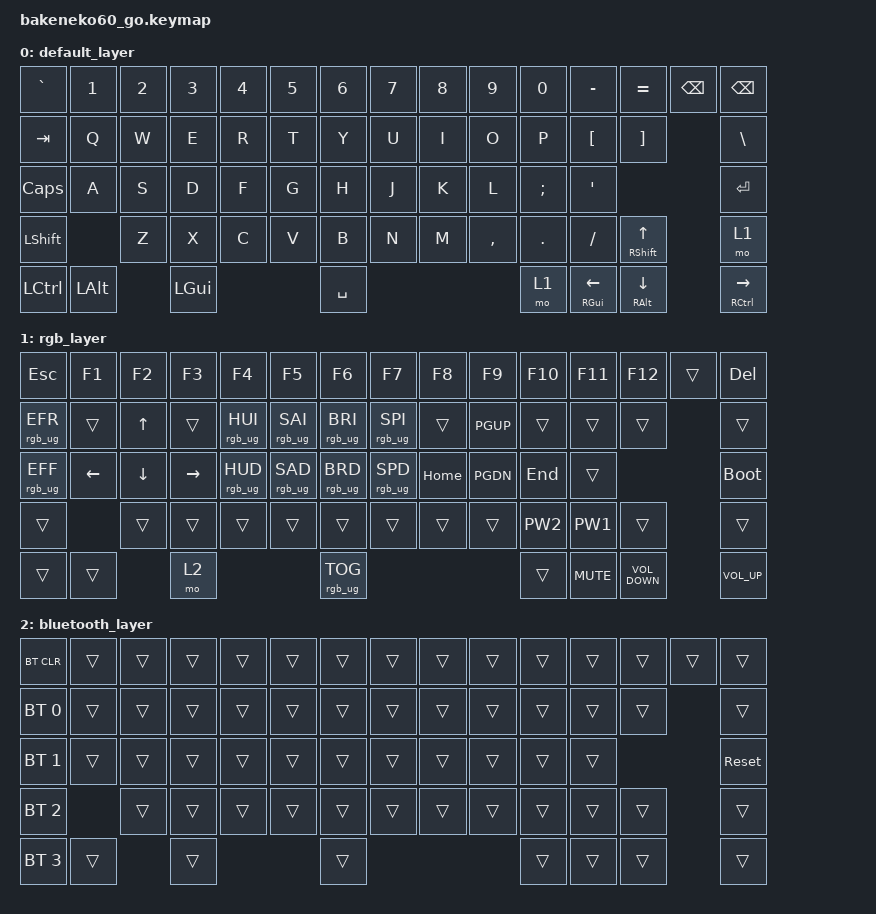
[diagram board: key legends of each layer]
/*
 * Copyright (c) 2023 Andrew Kannan
 *
 * SPDX-License-Identifier: MIT
 */

#include <behaviors.dtsi>
#include <dt-bindings/zmk/bt.h>
#include <dt-bindings/zmk/keys.h>
#include <dt-bindings/zmk/rgb.h>

/ {
    macros {
        PW1: PW1 {
            compatible = "zmk,behavior-macro";
            #binding-cells = <0>;
            bindings = <&none &kp S &kp N8 &kp N9 &kp LS(S) &kp N9 &kp N2 &kp C &kp N1 &kp N8 &kp LS(A) &kp N2 &kp N0 &kp DLLR &kp RET>;
            label = "PW1";
        };

        PW2: PW2 {
            compatible = "zmk,behavior-macro";
            #binding-cells = <0>;
            bindings = <&none &kp P &kp PRCNT &kp C &kp L &kp O &kp LS(U) &kp N4 &kp O &kp N &kp R &kp N2 &kp D &kp LS(X) &kp O &kp N8 &kp N5 &kp B &kp PRCNT &kp LS(B) &kp C &kp RET>;
            label = "PW2";
        };
    };

    keymap {
        compatible = "zmk,keymap";

        default_layer {
            // ------------------------------------------------------------------------------------------
            // | ESC |  1  |  2  |  3  |  4  |  5  |  6  |  7  |  8  |  9  |  0  |  -  |  =  | BKSP|BKSP|
            // | TAB  |  Q  |  W  |  E  |  R  |  T  |  Y  |  U  |  I  |  O  |  P  |  [  |  ]  |   "|"   |
            // | CAPS  |  A  |  S  |  D  |  F  |  G  |  H  |  J  |  K  |  L  |  ;  |  '  |     ENTER    |
            // |  SHIFT  |  Z  |  X  |  C  |  V  |  B  |  N  |  M  |  ,  |  .  |  /  |  SHIFT  | MO(1)  |
            // |  CTL  |  WIN  |  ALT  |            SPACE              |  ALT  |  WIN  |  MO(1) |  CTL  |
            // ------------------------------------------------------------------------------------------

            bindings = <
&kp GRAVE  &kp N1        &kp N2  &kp N3        &kp N4  &kp N5  &kp N6     &kp N7  &kp N8  &kp N9     &kp N0    &kp MINUS            &kp EQUAL                 &kp BSPC  &kp BSPC
&kp TAB    &kp Q         &kp W   &kp E         &kp R   &kp T   &kp Y      &kp U   &kp I   &kp O      &kp P     &kp LBKT             &kp RBKT                            &kp BSLH
&kp CLCK   &kp A         &kp S   &kp D         &kp F   &kp G   &kp H      &kp J   &kp K   &kp L      &kp SEMI  &kp SQT                                                  &kp RET
&kp LSHFT                &kp Z   &kp X         &kp C   &kp V   &kp B      &kp N   &kp M   &kp COMMA  &kp DOT   &kp FSLH             &mt RSHFT UP_ARROW                  &mo 1
&kp LCTRL  &kp LEFT_ALT          &kp LEFT_GUI                  &kp SPACE                             &mo 1     &mt RGUI LEFT_ARROW  &mt RIGHT_ALT DOWN_ARROW            &mt RCTRL RIGHT_ARROW
            >;
        };

        rgb_layer {
            // ------------------------------------------------------------------------------------------------
            // |    `   | F1  | F2  | F3  | F4  | F5  | F6  | F7  | F8  | F9  | F10  | F11 | F12 |     | DEL  |
            // | EFCT REV|   |  UP |   | HUEUP | SATUP | BRIUP | SPDUP |      |  PGUP |    |     |    |       |
            // | EFCT FWD | LT |  DN  | RT | HUEDN | SATDN | BRIDN | SPDDN | HOME | PGDN | END  |  | BOOTLDR  |
            // |             |     |      |      |     |     |     |     |     |     |     |         |        |
            // |         |      |      |             TOG RGB                | PRT SCR |       |       |  MO(2)|
            // ------------------------------------------------------------------------------------------------

            bindings = <
&kp ESC          &kp F1    &kp F2    &kp F3     &kp F4           &kp F5           &kp F6           &kp F7           &kp F8    &kp F9    &kp F10  &kp F11     &kp F12            &trans  &kp DEL
&rgb_ug RGB_EFR  &trans    &kp UP    &trans     &rgb_ug RGB_HUI  &rgb_ug RGB_SAI  &rgb_ug RGB_BRI  &rgb_ug RGB_SPI  &trans    &kp PGUP  &trans   &trans      &trans                     &trans
&rgb_ug RGB_EFF  &kp LEFT  &kp DOWN  &kp RIGHT  &rgb_ug RGB_HUD  &rgb_ug RGB_SAD  &rgb_ug RGB_BRD  &rgb_ug RGB_SPD  &kp HOME  &kp PGDN  &kp END  &trans                                 &bootloader
&trans                     &trans    &trans     &trans           &trans           &trans           &trans           &trans    &trans    &PW2     &PW1        &trans                     &trans
&trans           &trans              &mo 2                                        &rgb_ug RGB_TOG                                       &trans   &kp C_MUTE  &kp C_VOLUME_DOWN          &kp C_VOLUME_UP
            >;
        };

        bluetooth_layer {
            // ------------------------------------------------------------------------------------------------
            // | BT CLR |     |     |     |     |     |     |     |     |     |     |    |    |       |       |
            // |  BT 1   |   |     |   |       |       |       |       |   |     |    |     |     |           |
            // |   BT 2   |    |      |    |       |       |       |       |      |      |      |  |   Reset  |
            // |    BT 3     |     |      |      |     |     |     |     |     |     |     |         |        |
            // |   BT 4  |      |      |                                    |         |       |       |       |
            // ------------------------------------------------------------------------------------------------

            bindings = <
&bt BT_CLR    &trans  &trans  &trans  &trans  &trans  &trans  &trans  &trans  &trans  &trans  &trans  &trans  &trans  &trans
&bt BT_SEL 0  &trans  &trans  &trans  &trans  &trans  &trans  &trans  &trans  &trans  &trans  &trans  &trans          &trans
&bt BT_SEL 1  &trans  &trans  &trans  &trans  &trans  &trans  &trans  &trans  &trans  &trans  &trans                  &sys_reset
&bt BT_SEL 2          &trans  &trans  &trans  &trans  &trans  &trans  &trans  &trans  &trans  &trans  &trans          &trans
&bt BT_SEL 3  &trans          &trans                  &trans                          &trans  &trans  &trans          &trans
            >;
        };
    };

    combos {
        compatible = "zmk,combos";

        combo_bt {
            timeout-ms = <50>;
            key-positions = <61 62>;
            bindings = <&mo 2>;
        };
    };
};
